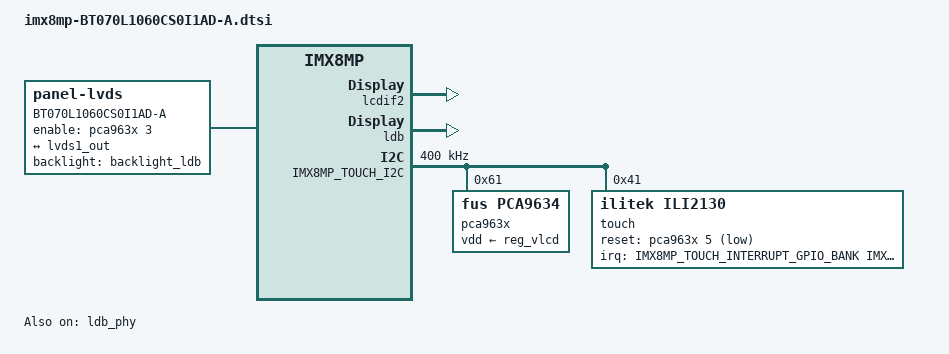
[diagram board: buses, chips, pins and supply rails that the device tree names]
/*
 * Copyright (C) 2021 F&S Elektronik Systeme GmbH
 *
 * This program is free software; you can redistribute it and/or modify
 * it under the terms of the GNU General Public License version 2 as
 * published by the Free Software Foundation.
 */

/ {

        lvds1_panel {
                compatible = "panel-lvds";
                backlight = <&backlight_ldb>;
                /* MIPI_RST from board */
                //enable-gpios = <&IMX8MP_MIPI_RESET_GPIO_BANK IMX8MP_MIPI_RESET_GPIO_NUM GPIO_ACTIVE_HIGH>;
                /* Mounting option for MIPI_RST on pca9634 (ADP-LVDS2LVDS2) */
                enable-gpios = <&pca963x 3 GPIO_ACTIVE_HIGH>;
                data-mapping = "vesa-24";
                label = "BT070L1060CS0I1AD-A";
                width-mm = <155>;
                height-mm = <86>;
                status = "okay";
                panel-timing {
                        clock-frequency = <49500000>;
                        hactive = <1024>;
                        vactive = <600>;
                        hback-porch = <160>;
                        hfront-porch = <76>;
                        hsync-len = <140>;
                        vback-porch = <23>;
                        vfront-porch = <107>;
                        vsync-len = <20>;
                        pixelclk-active = <0>;
                        de-active = <1>;
                };
                port {
                        panel_lvds1_in: endpoint {
                                remote-endpoint = <&lvds1_out>;
                        };
                };
        };
};

&backlight_ldb {
	pwms = <&pca963x 1 5263157 1>;
	brightness-levels = <0 1 5 10 18 28 41 56
		                 73 92 113 137 163 192 222 255>;
	default-brightness-level = <14>;
};

&reg_ldb_bl{
	gpio = <&pca963x 0 GPIO_ACTIVE_HIGH>;
};

/* LVDS */
&lcdif2 {
	status = "okay";
};

&ldb_phy {
	status = "okay";
};

&ldb {
	status = "okay";
	/* TODO: disabled for now because does not work */
#ifdef CONFIG_PICOCOREMX8MP_LDB_DUAL_CHANNEL
	fsl,dual-channel;
#endif /* CONFIG_PICOCOREMX8MP_LDB_DUAL_CHANNEL */
	/* DSI_A */
	lvds-channel@0 {
		fsl,data-mapping = "spwg";
		fsl,data-width = <24>;
		status = "disabled";
	};
	/* DSI_B */
	lvds-channel@1 {
		#address-cells = <1>;
		#size-cells = <0>;
		fsl,data-mapping = "spwg";
		fsl,data-width = <24>;
		status = "okay";
		port@1 {
			reg = <1>;
			lvds1_out: endpoint {
				remote-endpoint = <&panel_lvds1_in>;
			};
		};
	};
};

&IMX8MP_TOUCH_I2C {
	clock-frequency = <400000>;
	pca963x: pca9634@61 {
                        compatible = "fus,pca9634";
                        reg = <0x61>;
						vdd-supply = <&reg_vlcd>;
                        #address-cells = <1>;
                        #size-cells = <0>;
                        #pwm-cells = <3>;
                        #gpio-cells = <2>;
                        led@0 {
                                reg = <0>;
                                label = "BL_ON";
                                type = "GPIO";
                                default-on;             /* or: keep-value */
                                active-high;
                        };
                        led@1 {
                                reg = <1>;
                                label = "BL_PWM";
                                type = "PWM";
                                default-on;             /* or: keep-value */
                                active-low;
                        };
                        led@2 {
                                reg = <2>;
                                label = "2-unused";
                                type = "LED";
                                active-low;
                        };
                        led@3 {
                                reg = <3>;
                                label = "MIPI_RST";
                                type = "GPIO";
                                active-high;
                                default-on;             /* or: keep-value */
                        };
                        led@4 {
                                reg = <4>;
                                label = "4-unused";
                                type = "LED";
                                active-low;
                        };
                        led@5 {
                                reg = <5>;
                                label = "I2C_RST";
                                type = "GPIO";
                                active-high;
                                default-on;             /* or: keep-value */
                        };
                        led@6 {
                                reg = <6>;
                                label = "6-unused";
                                type = "LED";
                                active-low;
                        };
                        led@7 {
                                reg = <7>;
                                label = "TOUCH_ON";
                                type = "GPIO";
                                active-high;
                                default-on;
                        };
                };
        /* Ilitek PCAP touch on Touch-Connector (I2C) */
        touch: ilitek2130@41 {
                compatible = "ilitek,ili2130";
                reg = <0x41>;
                interrupt-parent = <&IMX8MP_TOUCH_INTERRUPT_GPIO_BANK>;
                interrupts = <IMX8MP_TOUCH_INTERRUPT_GPIO_NUM IRQ_TYPE_EDGE_RISING>;
                reset-gpios = <&pca963x 5 GPIO_ACTIVE_LOW>;
        };
};
